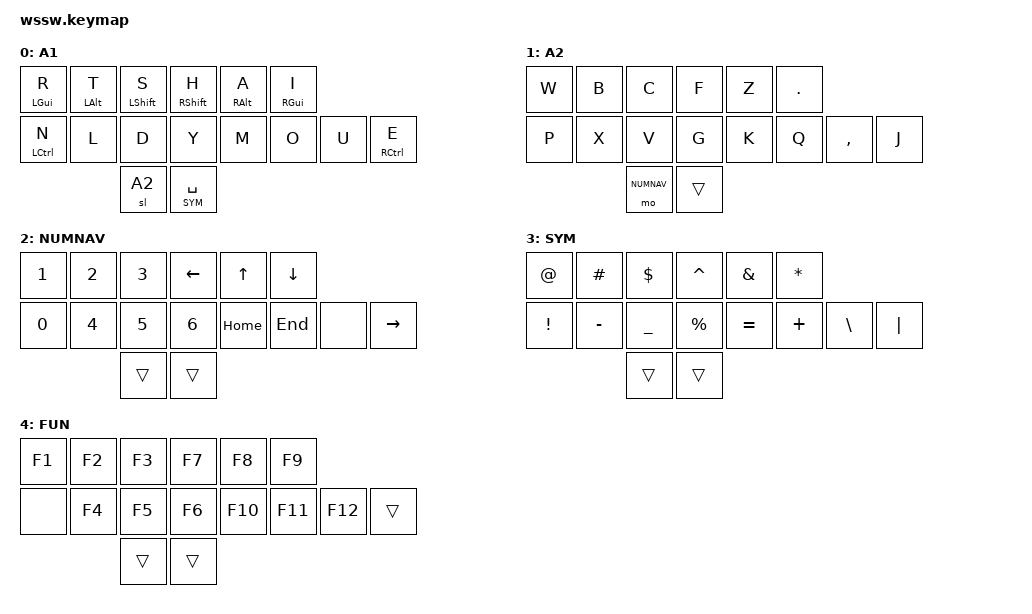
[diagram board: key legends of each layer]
/*
 * Copyright (c) 2020 The ZMK Contributors
 *
 * SPDX-License-Identifier: MIT
 */

#include <behaviors.dtsi>
#include <dt-bindings/zmk/keys.h>
#include <dt-bindings/zmk/bt.h>

#define A1 0
#define A2 1
#define NUMNAV 2
#define SYM 3
#define FUN 4

/ {
    combos {
        compatible = "zmk,combos";
        
        /* A1 Combos */
        combo_tab { key-positions = <0 1>; bindings = <&kp TAB>; layers = <A1>; };
        combo_esc { key-positions = <1 2>; bindings = <&kp ESC>; layers = <A1>; };
        combo_del { key-positions = <3 4>; bindings = <&kp DEL>; layers = <A1>; };
        combo_bsp { key-positions = <4 5>; bindings = <&kp BSPC>; layers = <A1>; };
        combo_ent { key-positions = <5 13>; bindings = <&kp ENTER>; layers = <A1>; };
        combo_cut { key-positions = <6 7>; bindings = <&kp LC(X)>; layers = <A1>; };
        combo_copy { key-positions = <7 8>; bindings = <&kp LC(C)>; layers = <A1>; };
        combo_paste { key-positions = <8 9>; bindings = <&kp LC(V)>; layers = <A1>; };
        combo_undo { key-positions = <10 11>; bindings = <&kp LC(Z)>; layers = <A1>; };
        combo_redo { key-positions = <11 12>; bindings = <&kp LC(Y)>; layers = <A1>; };
        combo_sticky_shift { key-positions = <0 6>; bindings = <&sk LSHIFT>; layers = <A1>; };
        combo_fun { key-positions = <13 15>; bindings = <&sl FUN>; layers = <A1>; }; /* 13 + Right Thumb (15) */

        /* A2 Combos */
        combo_qu { key-positions = <5 12>; bindings = <&kp DQT>; layers = <A2>; };
        combo_sqt { key-positions = <4 11>; bindings = <&kp SQT>; layers = <A2>; };
        combo_colon { key-positions = <11 12>; bindings = <&kp COLON>; layers = <A2>; };
        combo_semi { key-positions = <12 13>; bindings = <&kp SEMI>; layers = <A2>; };
        combo_qmark { key-positions = <5 13>; bindings = <&kp QMARK>; layers = <A2>; };

        /* NUMNAV Combos */
        combo_7 { key-positions = <0 7>; bindings = <&kp N7>; layers = <NUMNAV>; };
        combo_8 { key-positions = <1 8>; bindings = <&kp N8>; layers = <NUMNAV>; };
        combo_9 { key-positions = <2 9>; bindings = <&kp N9>; layers = <NUMNAV>; };
        combo_pgup { key-positions = <4 11>; bindings = <&kp PG_UP>; layers = <NUMNAV>; };
        combo_pgdn { key-positions = <5 12>; bindings = <&kp PG_DN>; layers = <NUMNAV>; };

        /* SYM Combos */
        combo_grave { key-positions = <0 1>; bindings = <&kp GRAVE>; layers = <SYM>; };
        combo_tilde { key-positions = <1 2>; bindings = <&kp TILDE>; layers = <SYM>; };
        combo_lpar { key-positions = <0 7>; bindings = <&kp LPAR>; layers = <SYM>; };
        combo_lbkt { key-positions = <1 8>; bindings = <&kp LBKT>; layers = <SYM>; };
        combo_lbrc { key-positions = <2 9>; bindings = <&kp LBRC>; layers = <SYM>; };
        combo_rbrc { key-positions = <3 10>; bindings = <&kp RBRC>; layers = <SYM>; };
        combo_rbkt { key-positions = <4 11>; bindings = <&kp RBKT>; layers = <SYM>; };
        combo_rpar { key-positions = <5 12>; bindings = <&kp RPAR>; layers = <SYM>; };
        combo_slash { key-positions = <12 13>; bindings = <&kp SLASH>; layers = <SYM>; };
        combo_lt { key-positions = <0 6>; bindings = <&kp LT>; layers = <SYM>; };
        combo_gt { key-positions = <5 13>; bindings = <&kp GT>; layers = <SYM>; };
    };

    behaviors {
        hm: homerow_mods {
            compatible = "zmk,behavior-hold-tap";
            label = "HOMEROW_MODS";
            #binding-cells = <2>;
            flavor = "balanced";
            tapping-term-ms = <200>;
            quick-tap-ms = <150>;
            bindings = <&kp>, <&kp>;
        };
        
        hl: hm_left {
            compatible = "zmk,behavior-hold-tap";
            label = "HM_L";
            #binding-cells = <2>;
            flavor = "balanced";
            tapping-term-ms = <200>;
            quick-tap-ms = <150>;
            bindings = <&kp>, <&kp>;
            hold-trigger-key-positions = <3 4 5 10 11 12 13 15>; /* Right Hand + RThumb (15) */
        };

        hr: hm_right {
            compatible = "zmk,behavior-hold-tap";
            label = "HM_R";
            #binding-cells = <2>;
            flavor = "balanced";
            tapping-term-ms = <200>;
            quick-tap-ms = <150>;
            bindings = <&kp>, <&kp>;
            hold-trigger-key-positions = <0 1 2 6 7 8 9 14>; /* Left Hand + LThumb (14) */
        };
    };

    keymap {
        compatible = "zmk,keymap";

        /* A1 */
        a1_layer {
            label = "A1";
            bindings = <
                &hl LGUI R      &hl LALT T      &hl LSHIFT S      &hr RSHIFT H    &hr RALT A      &hr RGUI I
                &hl LCTRL N     &kp L           &kp D             &kp Y           &kp M           &kp O           &kp U           &hr RCTRL E
                                                &sl A2            &lt SYM SPACE
            >;
        };

        /* A2 */
        a2_layer {
            label = "A2";
            bindings = <
                &kp W           &kp B           &kp C             &kp F           &kp Z           &kp DOT
                &kp P           &kp X           &kp V             &kp G           &kp K           &kp Q           &kp COMMA       &kp J
                                                &mo NUMNAV        &trans
            >;
        };

        /* NUMNAV */
        numnav_layer {
            label = "NUMNAV";
            bindings = <
                &kp N1          &kp N2          &kp N3            &kp LEFT        &kp UP          &kp DOWN
                &kp N0          &kp N4          &kp N5            &kp N6          &kp HOME        &kp END         &none           &kp RIGHT
                                                &trans            &trans
            >;
        };

        /* SYM */
        sym_layer {
            label = "SYM";
            bindings = <
                &kp AT          &kp HASH        &kp DOLLAR        &kp CARET       &kp AMPERSAND   &kp ASTERISK
                &kp EXCL        &kp MINUS       &kp UNDER         &kp PRCNT       &kp EQUAL       &kp PLUS        &kp BSLH        &kp PIPE
                                                &trans            &trans
            >;
        };

        /* FUN */
        fun_layer {
            label = "FUN";
            bindings = <
                &kp F1          &kp F2          &kp F3            &kp F7          &kp F8          &kp F9
                &none           &kp F4          &kp F5            &kp F6          &kp F10         &kp F11         &kp F12         &trans
                                                &trans            &trans
            >;
        };
    };
};
